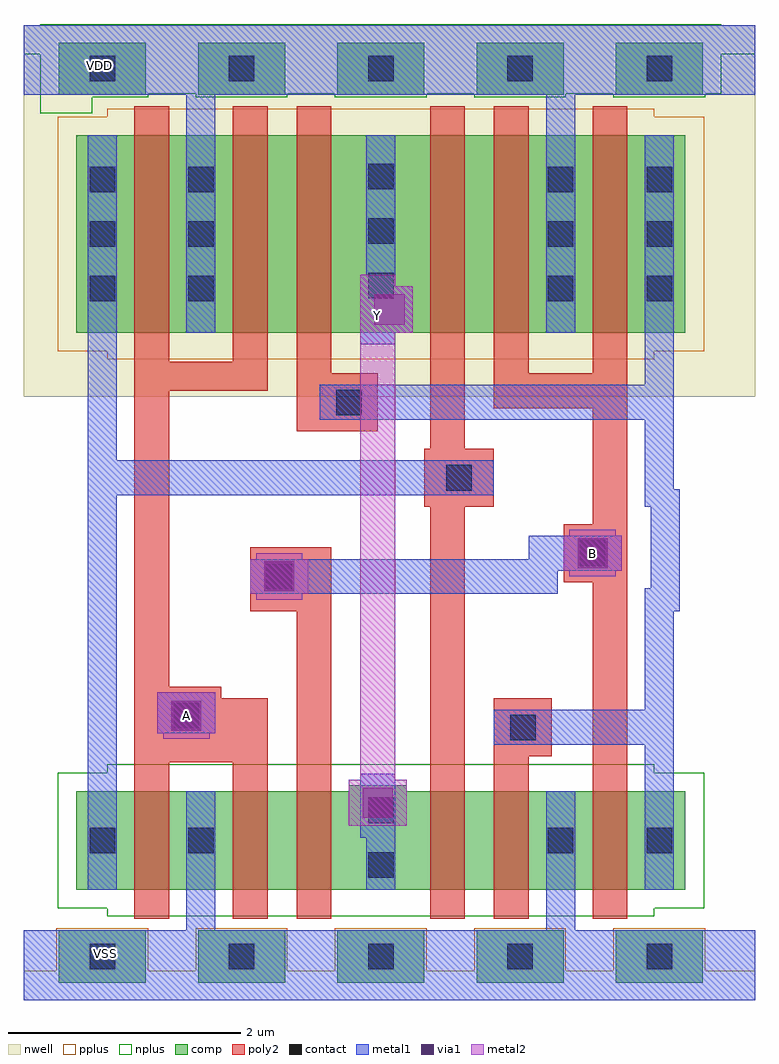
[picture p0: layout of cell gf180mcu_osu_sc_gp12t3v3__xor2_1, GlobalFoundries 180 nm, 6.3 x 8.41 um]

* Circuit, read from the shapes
.subckt gf180mcu_osu_sc_gp12t3v3__xor2_1 A B VDD VSS Y
XM1 VSS A n1 VSS nfet_03v3 w=0.85u l=0.3u
XM2 n2 A VSS VSS nfet_03v3 w=0.85u l=0.3u
XM3 Y B n2 VSS nfet_03v3 w=0.85u l=0.3u
XM4 n3 n1 Y VSS nfet_03v3 w=0.85u l=0.3u
XM5 VSS n4 n3 VSS nfet_03v3 w=0.85u l=0.3u
XM6 n4 B VSS VSS nfet_03v3 w=0.85u l=0.3u
XM7 VDD A n1 VDD pfet_03v3 w=1.7u l=0.3u
XM8 n5 A VDD VDD pfet_03v3 w=1.7u l=0.3u
XM9 Y n4 n5 VDD pfet_03v3 w=1.7u l=0.3u
XM10 n6 n1 Y VDD pfet_03v3 w=1.7u l=0.3u
XM11 VDD B n6 VDD pfet_03v3 w=1.7u l=0.3u
XM12 n4 B VDD VDD pfet_03v3 w=1.7u l=0.3u
.ends

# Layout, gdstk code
import gdstk
lib = gdstk.Library(unit=1e-6, precision=1e-09)
def R(c, l, rs):  # rectangles x0, y0, x1, y1
    for r in rs: c.add(gdstk.rectangle(r[:2], r[2:], *l))
def A(c, l, x, y, w, h, nx, ny, dx, dy):  # array of equal rectangles
    R(c, l, [(x+i*dx, y+j*dy, x+i*dx+w, y+j*dy+h) for i in range(nx) for j in range(ny)])
nwell = (21, 0)
comp = (22, 0)
poly2 = (30, 0)
pplus = (31, 0)
nplus = (32, 0)
contact = (33, 0)
metal1 = (34, 0)
via1 = (35, 0)
metal2 = (36, 0)

gf180mcu_osu_sc_gp12t3v3 = lib.new_cell('gf180mcu_osu_sc_gp12t3v3__xor2_1')
R(gf180mcu_osu_sc_gp12t3v3, nwell, [(0,5.2,6.3,8.4)])
A(gf180mcu_osu_sc_gp12t3v3, comp, 0.3, 0.15, 0.75, 0.45, 5, 2, 1.2, 7.65)
R(gf180mcu_osu_sc_gp12t3v3, comp, [(0.45,0.95,5.7,1.8), (2.8,1.8,3.3,1.85), (0.45,5.75,5.7,7.45)])
R(gf180mcu_osu_sc_gp12t3v3, poly2, [(0.95,0.7,1.25,2.05), (1.8,0.7,2.1,2.05), (2.35,0.7,2.65,3.35), (3.5,0.7,3.8,4.25), (4.05,0.7,4.35,2.1), (4.9,0.7,5.2,3.6), (0.95,2.05,2.1,2.6), (4.05,2.1,4.55,2.6), (0.95,2.6,1.7,2.7), (0.95,2.7,1.25,5.25), (1.95,3.35,2.65,3.9), (4.65,3.6,5.2,4.1), (4.9,4.1,5.2,5.1), (3.45,4.25,4.05,4.75), (3.5,4.75,3.8,7.7), (2.35,4.9,3.05,5.4), (4.05,5.1,5.2,5.4), (0.95,5.25,2.1,5.5), (2.35,5.4,2.65,7.7), (4.05,5.4,4.35,7.7), (4.9,5.4,5.2,7.7), (0.95,5.5,1.25,7.7), (1.8,5.5,2.1,7.7)])
A(gf180mcu_osu_sc_gp12t3v3, pplus, 0.28, 0.13, 0.79, 0.49, 5, 1, 1.2, 0)
R(gf180mcu_osu_sc_gp12t3v3, pplus, [(0,0,6.3,0.25), (0.72,5.52,5.43,5.59), (0.29,5.59,5.86,7.61), (0.72,7.61,5.43,7.68)])
A(gf180mcu_osu_sc_gp12t3v3, nplus, 1.48, 7.78, 0.79, 0.03, 4, 1, 1.2, 0)
R(gf180mcu_osu_sc_gp12t3v3, nplus, [(0.72,0.72,5.43,0.79), (0.29,0.79,5.86,1.96), (0.72,1.96,5.43,2.03), (0.14,7.64,0.59,7.78), (0.14,7.78,1.07,7.81), (0.14,7.81,6.01,8.15), (0,8.15,6.3,8.4), (0,8.15,6.3,8.4), (0.14,8.4,6.01,8.41)])
A(gf180mcu_osu_sc_gp12t3v3, contact, 0.565, 0.265, 0.22, 0.22, 5, 2, 1.2, 7.65)
A(gf180mcu_osu_sc_gp12t3v3, contact, 0.565, 6.02, 0.22, 0.22, 1, 3, 0, 0.47)
A(gf180mcu_osu_sc_gp12t3v3, contact, 1.415, 6.02, 0.22, 0.22, 1, 3, 0, 0.47)
A(gf180mcu_osu_sc_gp12t3v3, contact, 4.515, 6.02, 0.22, 0.22, 1, 3, 0, 0.47)
A(gf180mcu_osu_sc_gp12t3v3, contact, 5.365, 6.02, 0.22, 0.22, 1, 3, 0, 0.47)
A(gf180mcu_osu_sc_gp12t3v3, contact, 2.965, 6.045, 0.22, 0.22, 1, 3, 0, 0.47)
R(gf180mcu_osu_sc_gp12t3v3, contact, [(2.965,1.055,3.185,1.275), (0.565,1.265,0.785,1.485), (1.415,1.265,1.635,1.485), (4.515,1.265,4.735,1.485), (5.365,1.265,5.585,1.485), (2.965,1.525,3.185,1.745), (4.19,2.24,4.41,2.46), (1.29,2.34,1.51,2.56), (2.09,3.54,2.31,3.76), (4.79,3.74,5.01,3.96), (3.64,4.39,3.86,4.61), (2.69,5.04,2.91,5.26)])
R(gf180mcu_osu_sc_gp12t3v3, metal1, [(0,0,6.3,0.6), (1.4,0.6,1.65,1.8), (4.5,0.6,4.75,1.8), (0.55,0.95,0.8,4.35), (2.95,0.95,3.2,1.4), (5.35,0.95,5.6,2.2), (2.9,1.4,3.2,1.95), (4.05,2.2,5.6,2.5), (1.15,2.3,1.65,2.65), (5.35,2.5,5.6,3.35), (5.35,3.35,5.65,3.55), (1.95,3.5,4.6,3.7), (5.4,3.55,5.65,4.25), (1.95,3.7,5.15,3.8), (4.35,3.8,5.15,4), (5.35,4.25,5.65,4.4), (0.55,4.35,4.05,4.65), (5.35,4.4,5.6,5), (0.55,4.65,0.8,7.45), (2.55,5,5.6,5.3), (5.35,5.3,5.6,7.45), (2.9,5.65,3.2,5.75), (1.4,5.75,1.65,7.8), (2.9,5.75,3.35,6.15), (4.5,5.75,4.75,7.8), (2.9,6.15,3.2,6.25), (2.95,6.25,3.2,7.45), (0,7.8,6.3,8.4)])
R(gf180mcu_osu_sc_gp12t3v3, via1, [(2.92,1.57,3.18,1.83), (1.27,2.32,1.53,2.58), (2.07,3.52,2.33,3.78), (4.77,3.72,5.03,3.98), (3.02,5.82,3.28,6.08)])
R(gf180mcu_osu_sc_gp12t3v3, metal2, [(2.8,1.5,3.3,1.9), (2.9,1.9,3.2,5.75), (1.2,2.25,1.6,2.3), (1.15,2.3,1.65,2.65), (2,3.45,2.4,3.5), (1.95,3.5,2.45,3.8), (4.7,3.65,5.1,3.7), (4.65,3.7,5.15,4), (2,3.8,2.4,3.85), (4.7,4,5.1,4.05), (2.9,5.75,3.35,6.15), (2.9,6.15,3.2,6.25)])
gf180mcu_osu_sc_gp12t3v3.add(gdstk.Label('A', (1.4,2.45), layer=36, texttype=10))
gf180mcu_osu_sc_gp12t3v3.add(gdstk.Label('B', (4.9,3.85), layer=36, texttype=10))
gf180mcu_osu_sc_gp12t3v3.add(gdstk.Label('Y', (3.05,5.9), layer=36, texttype=10))
gf180mcu_osu_sc_gp12t3v3.add(gdstk.Label('VDD', (0.65,8.05), layer=34, texttype=10))
gf180mcu_osu_sc_gp12t3v3.add(gdstk.Label('VSS', (0.7,0.4), layer=34, texttype=10))

lib.write_gds('gf180mcu_osu_sc_gp12t3v3__xor2_1.gds')
